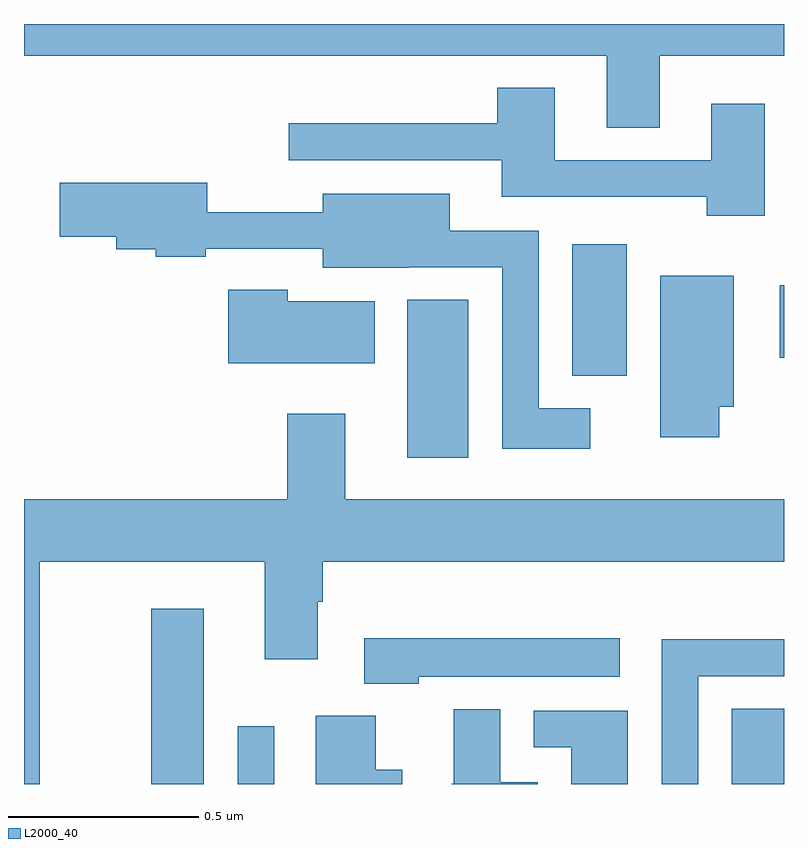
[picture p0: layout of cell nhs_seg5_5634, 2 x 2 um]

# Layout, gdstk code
import gdstk
lib = gdstk.Library(unit=1e-6, precision=1e-09)
def R(c, l, rs):  # rectangles x0, y0, x1, y1
    for r in rs: c.add(gdstk.rectangle(r[:2], r[2:], *l))
def P(c, l, *ps):  # polygons
    for p in ps: c.add(gdstk.Polygon(p, *l))
L2000_40 = (2000, 40)

nhs_seg5_5634 = lib.new_cell('nhs_seg5_5634')
R(nhs_seg5_5634, L2000_40, [(185.335,898.799,185.473,899.26), (185.562,898.799,185.658,898.951), (186.863,898.799,187,898.997), (186.008,899.658,186.169,900.073), (186.443,899.873,186.586,900.22), (186.989,899.921,187,900.112)])
P(nhs_seg5_5634, L2000_40, [(186.673,900.716),(187,900.716),(187,900.799),(185,900.799),(185,900.716),(186.533,900.716),(186.533,900.526),(186.673,900.526)],
  [(186.949,900.589),(186.809,900.589),(186.809,900.441),(186.397,900.441),(186.397,900.631),(186.245,900.631),(186.245,900.538),(185.697,900.538),(185.697,900.441),(186.257,900.441),(186.257,900.345),(186.797,900.345),(186.797,900.294),(186.949,900.294)],
  [(186.49,899.788),(186.354,899.788),(186.354,900.255),(186.121,900.255),(186.121,900.352),(185.786,900.352),(185.786,900.304),(185.482,900.304),(185.482,900.381),(185.094,900.381),(185.094,900.239),(185.243,900.239),(185.243,900.206),(185.347,900.206),(185.347,900.187),(185.478,900.187),(185.478,900.207),(185.786,900.207),(185.786,900.158),(186.012,900.158),(186.012,900.159),(186.258,900.159),(186.258,899.681),(186.49,899.681)],
  [(186.829,899.792),(186.868,899.792),(186.868,900.136),(186.674,900.136),(186.674,899.712),(186.829,899.712)],
  [(185.923,900.07),(185.694,900.07),(185.694,900.1),(185.537,900.1),(185.537,899.906),(185.923,899.906)],
  [(185.041,899.384),(185.633,899.384),(185.633,899.127),(185.773,899.127),(185.773,899.278),(185.786,899.278),(185.786,899.384),(187,899.384),(187,899.548),(185.845,899.548),(185.845,899.773),(185.693,899.773),(185.693,899.548),(185,899.548),(185,898.799),(185.041,898.799)],
  [(186.039,899.081),(186.568,899.081),(186.568,899.182),(185.895,899.182),(185.895,899.063),(186.039,899.063)],
  [(186.774,899.082),(187,899.082),(187,899.18),(186.678,899.18),(186.678,898.799),(186.774,898.799)],
  [(186.352,898.804),(186.253,898.804),(186.253,898.996),(186.131,898.996),(186.131,898.8),(186.125,898.8),(186.125,898.799),(186.352,898.799)],
  [(186.589,898.992),(186.342,898.992),(186.342,898.896),(186.44,898.896),(186.44,898.799),(186.589,898.799)],
  [(185.995,898.837),(185.926,898.837),(185.926,898.978),(185.768,898.978),(185.768,898.799),(185.995,898.799)])

lib.write_gds('nhs_seg5_5634.gds')
